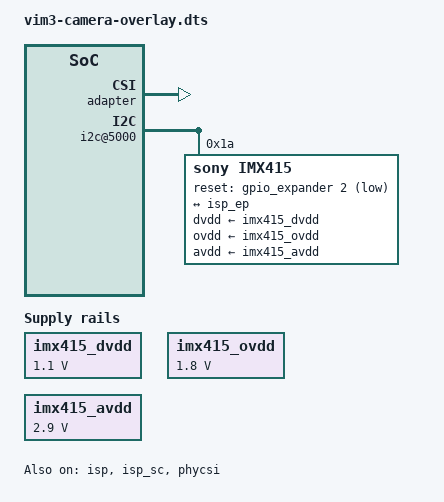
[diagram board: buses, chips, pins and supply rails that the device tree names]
/dts-v1/;
/plugin/;

/*
 * Khadas VIM3 / A311D (G12B) IMX415 runtime overlay.
 *
 * Hardware register regions, interrupts, link-device relationships and clock
 * consumer order are transcribed from the read-only Khadas
 * khadas-vims-5.15.y tree:
 *   arch/arm64/boot/dts/amlogic/mesong12b.dtsi
 * VIM3 Camera0 routing is adapted from:
 *   arch/arm64/boot/dts/amlogic/kvim3.dts
 *
 * This does not touch /boot. It is applied only by scripts/load.sh after the
 * matching modules have been built, and removed with scripts/unload.sh.
 *
 * Board adaptation, verified against the running Armbian DTB:
 * - Camera0 control bus is the AO I2C controller, /soc/bus@ff800000/i2c@5000.
 *   Confirmed twice: the base DTB puts the TCA6408 expander and the Khadas MCU
 *   there, and the vendor tree attaches its camera sensor node to &i2c_AO.
 * - &gpio_expander resolves to the "ti,tca6408" at reg 0x20 in the live DTB;
 *   line 5 drives the red status LED there exactly as kvim3.dts says, which
 *   confirms the line numbering matches the vendor tree.
 * - Reset is expander line 2, NOT line 3.  kvim3.dts assigns the generic
 *   reset to line 3, but the vendor's own IMX415 driver overrides it:
 *     // IMX415 PIN21 RESET, defined in dts as 'ircut-gpios'
 *     gpio->rst_gpio = gpio->ircut_gpio;
 *   and kvim3.dts has ir_cut_gpio = <&gpio_expander 2>.  IMX415 pin 21 is
 *   XCLR, so on this module XCLR is wired to expander line 2.
 * - Polarity is active-LOW.  XCLR low holds the sensor in reset; the vendor
 *   drives the pad to 1 to run.  Mainline requests the line GPIOD_OUT_HIGH
 *   (asserted) and calls gpiod_set_value(reset, 0) to release, so logical-1
 *   must map to physical LOW -- i.e. GPIO_ACTIVE_LOW.
 *
 * - reg = <0x1a> is the IMX415 default 7-bit address (SLASEL low) and has been
 *   CONFIRMED on this board: with INCK running and XCLR released it answers at
 *   0x1a on i2c-0, and the driver reports "Detected IMX415 image sensor".
 *   Note the vendor tree's "sensor-i2c@6c" is NOT evidence about this address:
 *   it is the ARM ISP framework's 8-bit-addressed proxy node for an os08a10, a
 *   different sensor.
 * - 24 MHz INCK comes from the SoC's gen_clk, consumed here as a normal clock
 *   (isp_clkc output 6). isp_clkc also routes it to CAM_MCLK on GPIOAO_11.
 *
 * Still approximate, and deliberately so:
 * - The three *-supply nodes are fixed always-on placeholders. The VIM3 camera
 *   connector feeds the module from VDDIO_AO18 / VCC3.3V with no enable GPIO
 *   (vim3-sch-v15.pdf), so the module regulates onboard. This models "already
 *   powered"; it does not claim to describe the board's regulator topology.
 */

/ {
	fragment@0 {
		target-path = "/soc/bus@ff600000/bus@3c000/system-controller@0";

		__overlay__ {
			isp_clkc: isp-clkc {
				compatible = "khadas,vim3-isp-clkc";
				#clock-cells = <1>;
				/*
				 * VIM3 CAM_MCLK is GPIOAO_11 / GEN_CLK_EE
				 * (mux 4) per vim3-sch-v15.pdf. Mainline has
				 * no pinctrl group for it, so the clock
				 * provider routes its own output.
				 */
				birdcher,gen-clk-pad = <11 4>;
				status = "okay";
			};
		};
	};

	fragment@1 {
		target-path = "/";

		__overlay__ {
			#address-cells = <2>;
			#size-cells = <2>;
			interrupt-parent = <&gic>;

			isp: isp@ff140000 {
				compatible = "arm, isp";
				reg = <0x0 0xff140000 0x0 0x00040000>;
				reg-names = "ISP";
				isp-efuse = <0xff630038 0x4000>;
				interrupts = <0 142 4>;
				interrupt-names = "ISP";
				temper-buf-size = <24>;
				clocks = <&isp_clkc 0>, <&isp_clkc 1>;
				clock-names = "cts_mipi_isp_clk",
					      "cts_mipi_csi_phy_clk0";
				link-device = <&isp_sc>;
				status = "okay";

				port {
					isp_ep: endpoint {
						remote-endpoint = <&imx415_ep>;
					};
				};
			};

			isp_sc: isp-sc@ff655400 {
				compatible = "amlogic,isp-sc";
				reg = <0x0 0xff655400 0x0 0x00001000>;
				reg-names = "isp_sc";
				interrupts = <0 17 4>;
				interrupt-names = "isp_sc";
				status = "okay";
			};

			adapter: isp-adapter@ff650000 {
				compatible = "amlogic, isp-adapter";
				reg = <0x0 0xff650000 0x0 0x00006000>;
				reg-names = "adapter";
				interrupts = <0 179 4>;
				interrupt-names = "adapter-irq";
				mem_alloc = <48>;
				status = "okay";
			};

			phycsi: phy-csi@ff650000 {
				compatible = "amlogic, phy-csi";
				reg = <0x0 0xff650000 0x0 0x00002000>,
				      <0x0 0xff652000 0x0 0x00002000>,
				      <0x0 0xff63c300 0x0 0x00000100>,
				      <0x0 0xff654000 0x0 0x00000100>,
				      <0x0 0xff654400 0x0 0x00000100>;
				reg-names = "csi2_phy0", "csi2_phy1", "aphy_reg",
					    "csi0_host", "csi1_host";
				interrupts = <0 41 4>, <0 42 4>, <0 72 4>,
					     <0 74 4>, <0 87 4>, <0 88 4>;
				interrupt-names = "phy0-irq", "phy1-irq",
						  "csi-host0-intr2", "csi-host0-intr1",
						  "csi-host1-intr2", "csi-host1-intr1";
				link-device = <&adapter>;
				status = "okay";
			};
		};
	};

	fragment@2 {
		target-path = "/soc/bus@ff800000/i2c@5000";

		__overlay__ {
			#address-cells = <1>;
			#size-cells = <0>;

			imx415: camera-sensor@1a {
				compatible = "sony,imx415";
				reg = <0x1a>;
				/*
				 * Real CCF consumer of gen_clk (isp_clkc
				 * output 6), not a fixed-clock stand-in: this
				 * makes the sensor's clk_prepare_enable()
				 * actually gate the hardware on, makes
				 * clk_get_rate() report the true INCK the
				 * driver keys its register tables off, and
				 * makes probe order fall out of the normal
				 * deferred-probe dependency instead of a
				 * module load-order rule.
				 */
				clocks = <&isp_clkc 6>;
				clock-names = "inck";
				/*
				 * No assigned-clock-parents here: the only
				 * gen_clk output exposed to DT is the final
				 * gate, whose sole parent is gen_clk_div, so
				 * asking to reparent it to &xtal is rejected
				 * with -EINVAL.  isp_clkc selects the xtal
				 * source itself -- see its gen_clk pad setup.
				 */
				assigned-clocks = <&isp_clkc 6>;
				assigned-clock-rates = <24000000>;
				/*
				 * Expander line 2, active-LOW.  See the header
				 * comment: the vendor IMX415 driver remaps reset
				 * onto the ircut line (expander 2), and XCLR is
				 * active-low, so mainline's "de-assert" must
				 * drive the pad HIGH.
				 */
				reset-gpios = <&gpio_expander 2 1>;
				dvdd-supply = <&imx415_dvdd>;
				ovdd-supply = <&imx415_ovdd>;
				avdd-supply = <&imx415_avdd>;

				port {
					imx415_ep: endpoint {
						remote-endpoint = <&isp_ep>;
						data-lanes = <1 2 3 4>;
						link-frequencies = /bits/ 64 <720000000>;
					};
				};
			};
		};
	};

	fragment@3 {
		target-path = "/";

		__overlay__ {
			/* Camera-module regulators are not software-switched by VIM3. */
			imx415_dvdd: imx415-dvdd {
				compatible = "regulator-fixed";
				regulator-name = "imx415-dvdd";
				regulator-min-microvolt = <1100000>;
				regulator-max-microvolt = <1100000>;
				regulator-always-on;
			};

			imx415_ovdd: imx415-ovdd {
				compatible = "regulator-fixed";
				regulator-name = "imx415-ovdd";
				regulator-min-microvolt = <1800000>;
				regulator-max-microvolt = <1800000>;
				regulator-always-on;
			};

			imx415_avdd: imx415-avdd {
				compatible = "regulator-fixed";
				regulator-name = "imx415-avdd";
				regulator-min-microvolt = <2900000>;
				regulator-max-microvolt = <2900000>;
				regulator-always-on;
			};
		};
	};
};
